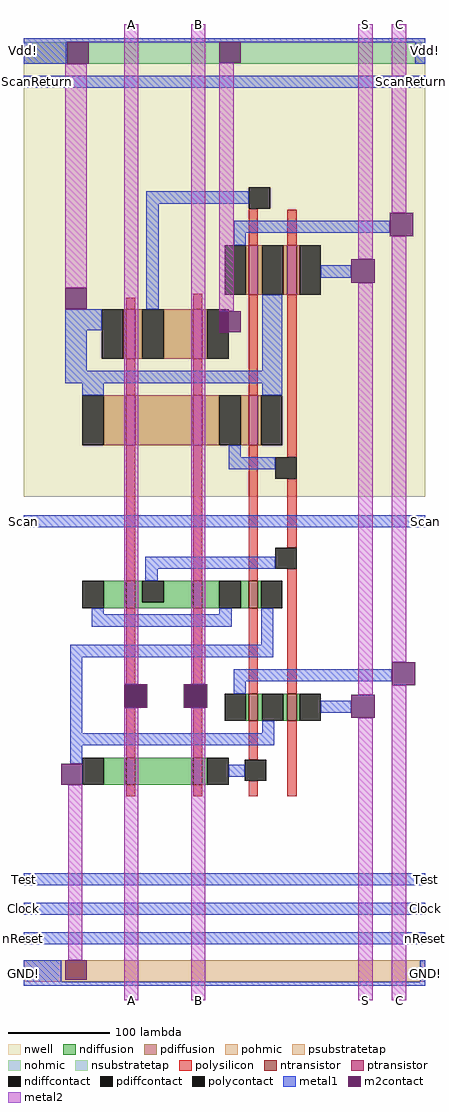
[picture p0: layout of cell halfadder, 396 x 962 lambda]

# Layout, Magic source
magic
tech tsmc180
<< nwell >>
rect 0 496 396 948
<< polysilicon >>
rect 222 744 231 780
rect 260 744 269 779
rect 101 681 110 692
rect 167 681 176 696
rect 101 596 110 632
rect 167 596 176 632
rect 222 596 231 695
rect 101 413 110 547
rect 167 413 176 547
rect 222 413 231 547
rect 260 535 269 695
rect 260 446 269 514
rect 101 311 110 386
rect 167 311 176 386
rect 222 302 231 386
rect 260 302 269 425
rect 101 239 110 288
rect 167 239 176 288
rect 222 237 231 275
rect 101 201 110 212
rect 167 201 176 212
rect 222 201 231 216
rect 260 201 269 275
<< ndiffusion >>
rect 79 386 101 413
rect 110 392 117 413
rect 138 392 167 413
rect 110 386 167 392
rect 176 386 193 413
rect 214 386 222 413
rect 231 386 234 413
rect 219 275 222 302
rect 231 275 235 302
rect 256 275 260 302
rect 269 275 272 302
rect 79 212 101 239
rect 110 212 167 239
rect 176 212 181 239
<< pdiffusion >>
rect 219 695 222 744
rect 231 695 235 744
rect 256 695 260 744
rect 269 695 272 744
rect 98 632 101 681
rect 110 632 117 681
rect 138 632 167 681
rect 176 632 181 681
rect 79 547 101 596
rect 110 547 167 596
rect 176 547 193 596
rect 214 547 222 596
rect 231 547 234 596
<< pohmic >>
rect 0 18 37 39
rect 391 18 396 39
<< nohmic >>
rect 0 923 42 944
rect 386 923 396 944
<< ntransistor >>
rect 101 386 110 413
rect 167 386 176 413
rect 222 386 231 413
rect 222 275 231 302
rect 260 275 269 302
rect 101 212 110 239
rect 167 212 176 239
<< ptransistor >>
rect 222 695 231 744
rect 260 695 269 744
rect 101 632 110 681
rect 167 632 176 681
rect 101 547 110 596
rect 167 547 176 596
rect 222 547 231 596
<< polycontact >>
rect 222 780 243 801
rect 248 514 269 535
rect 248 425 269 446
rect 99 288 122 311
rect 158 288 181 311
rect 218 216 239 237
<< ndiffcontact >>
rect 58 386 79 413
rect 117 392 138 413
rect 193 386 214 413
rect 234 386 255 413
rect 198 275 219 302
rect 235 275 256 302
rect 272 275 293 302
rect 58 212 79 239
rect 181 212 202 239
<< pdiffcontact >>
rect 198 695 219 744
rect 235 695 256 744
rect 272 695 293 744
rect 77 632 98 681
rect 117 632 138 681
rect 181 632 202 681
rect 58 547 79 596
rect 193 547 214 596
rect 234 547 255 596
<< psubstratetap >>
rect 37 18 391 39
<< nsubstratetap >>
rect 42 923 386 944
<< metal1 >>
rect 0 944 396 948
rect 0 923 42 944
rect 386 923 396 944
rect 0 899 396 911
rect 121 785 222 797
rect 121 681 133 785
rect 207 756 361 768
rect 207 744 219 756
rect 293 712 323 724
rect 41 660 77 681
rect 41 620 62 660
rect 235 620 255 695
rect 41 608 255 620
rect 58 596 79 608
rect 235 596 255 608
rect 202 535 214 547
rect 202 523 248 535
rect 0 466 396 478
rect 120 425 248 437
rect 120 413 132 425
rect 67 380 79 386
rect 193 380 205 386
rect 67 368 205 380
rect 234 350 246 386
rect 46 338 246 350
rect 46 263 58 338
rect 207 314 363 326
rect 207 302 219 314
rect 293 283 323 295
rect 235 263 247 275
rect 46 251 247 263
rect 46 233 58 251
rect 202 220 218 232
rect 0 113 396 125
rect 0 84 396 96
rect 0 55 396 67
rect 0 18 37 39
rect 391 18 396 39
rect 0 14 396 18
<< m2contact >>
rect 43 923 64 944
rect 193 924 214 944
rect 41 681 62 702
rect 361 753 384 776
rect 323 707 346 730
rect 193 658 202 679
rect 202 658 214 679
rect 99 288 122 311
rect 158 288 181 311
rect 363 310 386 333
rect 323 278 346 301
rect 37 212 58 233
rect 41 20 62 39
<< metal2 >>
rect 41 702 62 923
rect 99 311 113 962
rect 165 311 179 962
rect 193 679 207 924
rect 330 730 344 962
rect 363 776 377 962
rect 330 301 344 707
rect 363 333 377 753
rect 44 39 58 212
rect 99 0 113 288
rect 165 0 179 288
rect 330 0 344 278
rect 363 0 377 310
<< labels >>
rlabel metal1 396 14 396 39 7 GND!
rlabel metal1 396 899 396 911 7 ScanReturn
rlabel metal1 396 113 396 125 7 Test
rlabel metal1 396 84 396 96 7 Clock
rlabel metal1 396 55 396 67 7 nReset
rlabel metal1 396 466 396 478 7 Scan
rlabel metal2 363 962 377 962 5 C
rlabel metal2 330 962 344 962 5 S
rlabel metal2 99 962 113 962 5 A
rlabel metal2 165 962 179 962 5 B
rlabel metal2 99 0 113 0 1 A
rlabel metal2 330 0 344 0 1 S
rlabel metal2 363 0 377 0 1 C
rlabel metal2 165 0 179 0 1 B
rlabel metal1 0 14 0 39 3 GND!
rlabel metal1 0 899 0 911 3 ScanReturn
rlabel metal1 0 113 0 125 3 Test
rlabel metal1 0 84 0 96 3 Clock
rlabel metal1 0 55 0 67 3 nReset
rlabel metal1 0 466 0 478 3 Scan
rlabel metal1 396 923 396 948 7 Vdd!
rlabel metal1 0 923 0 948 3 Vdd!
<< end >>
